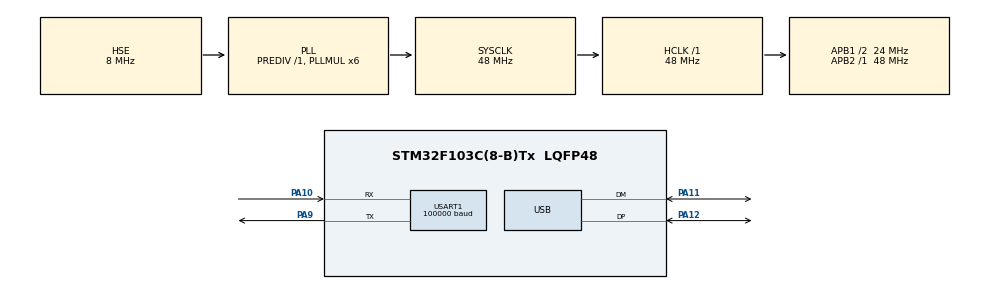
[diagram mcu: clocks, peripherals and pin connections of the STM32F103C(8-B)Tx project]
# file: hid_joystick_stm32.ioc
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Mcu.Family=STM32F1
Mcu.Name=STM32F103C(8-B)Tx
Mcu.Package=LQFP48
NVIC.PriorityGroup=NVIC_PRIORITYGROUP_4
NVIC.USART1_IRQn=true\:1\:0\:true\:false\:true\:true\:true
NVIC.USB_LP_CAN1_RX0_IRQn=true\:0\:0\:false\:false\:true\:true\:true
PA10.Mode=Asynchronous
PA10.Signal=USART1_RX
PA11.Mode=Device
PA11.Signal=USB_DM
PA12.Mode=Device
PA12.Signal=USB_DP
PA13.Mode=Serial_Wire
PA13.Signal=SYS_JTMS-SWDIO
PA14.Mode=Serial_Wire
PA14.Signal=SYS_JTCK-SWCLK
PA9.Mode=Asynchronous
PA9.Signal=USART1_TX
PD0-OSC_IN.Mode=HSE-External-Oscillator
PD0-OSC_IN.Signal=RCC_OSC_IN
PD1-OSC_OUT.Mode=HSE-External-Oscillator
PD1-OSC_OUT.Signal=RCC_OSC_OUT
ProjectManager.HeapSize=0x200
ProjectManager.StackSize=0x400
ProjectManager.TargetToolchain=MDK-ARM V5
RCC.ADCPresc=RCC_ADCPCLK2_DIV4
RCC.AHBFreq_Value=48000000
RCC.APB1CLKDivider=RCC_HCLK_DIV2
RCC.APB1Freq_Value=24000000
RCC.APB1TimFreq_Value=48000000
RCC.APB2Freq_Value=48000000
RCC.APB2TimFreq_Value=48000000
RCC.HCLKFreq_Value=48000000
RCC.PLLMUL=RCC_PLL_MUL6
RCC.SYSCLKFreq_VALUE=48000000
RCC.SYSCLKSource=RCC_SYSCLKSOURCE_PLLCLK
RCC.USBFreq_Value=48000000
USART1.BaudRate=100000
USART1.Parity=PARITY_EVEN
USART1.StopBits=STOPBITS_2
USART1.VirtualMode=VM_ASYNC
USB.ep0_mps=DEP0CTL_MPS_64
USB_DEVICE.CLASS_NAME_FS=HID
USB_DEVICE.MANUFACTURER_STRING=STMicroelectronics
USB_DEVICE.PID_HID_FS=0x5757
USB_DEVICE.PRODUCT_STRING_HID_FS=FeelCustom OpenJoy
USB_DEVICE.VID=0x0483
USB_DEVICE.VirtualMode=Hid
USB_DEVICE.VirtualModeFS=Hid_FS
VP_TIM3_VS_ClockSourceINT.Mode=Internal
VP_USB_DEVICE_VS_USB_DEVICE_HID_FS.Mode=HID_FS
board=hid_joystick_stm32

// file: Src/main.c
/**
  ******************************************************************************
  * File Name          : main.c
  * Description        : Main program body
  ******************************************************************************
  * This notice applies to any and all portions of this file
  * that are not between comment pairs USER CODE BEGIN and
  * USER CODE END. Other portions of this file, whether
  * inserted by the user or by software development tools
  * are owned by their respective copyright owners.
  *
  * Copyright (c) 2021 STMicroelectronics International N.V.
  * All rights reserved.
  *
  * Redistribution and use in source and binary forms, with or without
  * modification, are permitted, provided that the following conditions are met:
  *
  * 1. Redistribution of source code must retain the above copyright notice,
  *    this list of conditions and the following disclaimer.
  * 2. Redistributions in binary form must reproduce the above copyright notice,
  *    this list of conditions and the following disclaimer in the documentation
  *    and/or other materials provided with the distribution.
  * 3. Neither the name of STMicroelectronics nor the names of other
  *    contributors to this software may be used to endorse or promote products
  *    derived from this software without specific written permission.
  * 4. This software, including modifications and/or derivative works of this
  *    software, must execute solely and exclusively on microcontroller or
  *    microprocessor devices manufactured by or for STMicroelectronics.
  * 5. Redistribution and use of this software other than as permitted under
  *    this license is void and will automatically terminate your rights under
  *    this license.
  *
  * THIS SOFTWARE IS PROVIDED BY STMICROELECTRONICS AND CONTRIBUTORS "AS IS"
  * AND ANY EXPRESS, IMPLIED OR STATUTORY WARRANTIES, INCLUDING, BUT NOT
  * LIMITED TO, THE IMPLIED WARRANTIES OF MERCHANTABILITY, FITNESS FOR A
  * PARTICULAR PURPOSE AND NON-INFRINGEMENT OF THIRD PARTY INTELLECTUAL PROPERTY
  * RIGHTS ARE DISCLAIMED TO THE FULLEST EXTENT PERMITTED BY LAW. IN NO EVENT
  * SHALL STMICROELECTRONICS OR CONTRIBUTORS BE LIABLE FOR ANY DIRECT, INDIRECT,
  * INCIDENTAL, SPECIAL, EXEMPLARY, OR CONSEQUENTIAL DAMAGES (INCLUDING, BUT NOT
  * LIMITED TO, PROCUREMENT OF SUBSTITUTE GOODS OR SERVICES; LOSS OF USE, DATA,
  * OR PROFITS; OR BUSINESS INTERRUPTION) HOWEVER CAUSED AND ON ANY THEORY OF
  * LIABILITY, WHETHER IN CONTRACT, STRICT LIABILITY, OR TORT (INCLUDING
  * NEGLIGENCE OR OTHERWISE) ARISING IN ANY WAY OUT OF THE USE OF THIS SOFTWARE,
  * EVEN IF ADVISED OF THE POSSIBILITY OF SUCH DAMAGE.
  *
  ******************************************************************************
  */
#include "main.h"
#include "stm32f1xx_hal.h"
#include "tim.h"
#include "usart.h"
#include "usb_device.h"
#include "gpio.h"

/* USER CODE BEGIN Includes */
#include "usbd_hid.h"

/* USER CODE END Includes */

/* USER CODE BEGIN PV */
/* Private variables ---------------------------------------------------------*/
extern int32_t channelData[16];
volatile uint8_t data_ready = 0;

#if (AXIS_NUM > 0)
uint32_t filter_buf[AXIS_NUM][FILTER_WINDOW_SIZE];
#endif
uint16_t report_data[AXIS_NUM + BUTTONS_ENABLED];

uint16_t buttons_state;
uint16_t ADC_data[ADC_CHANNELS_NUM];

/* USER CODE END PV */

void SystemClock_Config(void);

/* USER CODE BEGIN PFP */
/* Private function prototypes -----------------------------------------------*/
uint16_t FilterWindow (uint32_t * p_buf, uint16_t new_val);

/* USER CODE END PFP */

int main(void)
{

  /* MCU Configuration----------------------------------------------------------*/

  /* Reset of all peripherals, Initializes the Flash interface and the Systick. */
  HAL_Init();

  /* Configure the system clock */
  SystemClock_Config();

  /* Initialize all configured peripherals */
  MX_GPIO_Init();
  MX_USB_DEVICE_Init();
  MX_TIM3_Init();
  MX_USART1_UART_Init();

  /* USER CODE BEGIN 2 */
  __HAL_UART_ENABLE_IT(&huart1, UART_IT_RXNE);
  /* USER CODE END 2 */

  /* Infinite loop */
  while (1)
  {

  /* USER CODE BEGIN 3 */
		if (data_ready != 0)
		{
//			GPIO_Poll(&buttons_state);

#if (AXIS_NUM > 0)
			report_data[0] = channelData[2];
			report_data[1] = channelData[3];
			report_data[2] = channelData[0];
#endif
			// switch button
			if(channelData[5] < 900) {
				buttons_state |= 0x01;
			} else {
				buttons_state &= ~0x01;
			}

			// connect status
			if((channelData[0] == 1001)
				&& (channelData[1] == 1001)
				&& (channelData[3] == 1001)) {
				buttons_state |= 0x02;
			} else {
				buttons_state &= ~0x02;
			}
#if (BUTTONS_ENABLED == 1)
			report_data[AXIS_NUM] = buttons_state;
#endif

			USBD_HID_SendReport(&hUsbDeviceFS, (uint8_t*) &report_data, (AXIS_NUM + BUTTONS_ENABLED)*sizeof(uint16_t));
			data_ready = 0;
		}
  }
  /* USER CODE END 3 */

}

/** System Clock Configuration
*/
void SystemClock_Config(void)
{

  RCC_OscInitTypeDef RCC_OscInitStruct;
  RCC_ClkInitTypeDef RCC_ClkInitStruct;
  RCC_PeriphCLKInitTypeDef PeriphClkInit;

    /**Initializes the CPU, AHB and APB busses clocks
    */
  RCC_OscInitStruct.OscillatorType = RCC_OSCILLATORTYPE_HSE;
  RCC_OscInitStruct.HSEState = RCC_HSE_ON;
  RCC_OscInitStruct.HSEPredivValue = RCC_HSE_PREDIV_DIV1;
  RCC_OscInitStruct.HSIState = RCC_HSI_ON;
  RCC_OscInitStruct.PLL.PLLState = RCC_PLL_ON;
  RCC_OscInitStruct.PLL.PLLSource = RCC_PLLSOURCE_HSE;
  RCC_OscInitStruct.PLL.PLLMUL = RCC_PLL_MUL6;
  if (HAL_RCC_OscConfig(&RCC_OscInitStruct) != HAL_OK)
  {
    _Error_Handler(__FILE__, __LINE__);
  }

    /**Initializes the CPU, AHB and APB busses clocks
    */
  RCC_ClkInitStruct.ClockType = RCC_CLOCKTYPE_HCLK|RCC_CLOCKTYPE_SYSCLK
                              |RCC_CLOCKTYPE_PCLK1|RCC_CLOCKTYPE_PCLK2;
  RCC_ClkInitStruct.SYSCLKSource = RCC_SYSCLKSOURCE_PLLCLK;
  RCC_ClkInitStruct.AHBCLKDivider = RCC_SYSCLK_DIV1;
  RCC_ClkInitStruct.APB1CLKDivider = RCC_HCLK_DIV2;
  RCC_ClkInitStruct.APB2CLKDivider = RCC_HCLK_DIV1;

  if (HAL_RCC_ClockConfig(&RCC_ClkInitStruct, FLASH_LATENCY_1) != HAL_OK)
  {
    _Error_Handler(__FILE__, __LINE__);
  }

  PeriphClkInit.PeriphClockSelection = RCC_PERIPHCLK_USB;
  PeriphClkInit.UsbClockSelection = RCC_USBCLKSOURCE_PLL;
  if (HAL_RCCEx_PeriphCLKConfig(&PeriphClkInit) != HAL_OK)
  {
    _Error_Handler(__FILE__, __LINE__);
  }

    /**Configure the Systick interrupt time
    */
  HAL_SYSTICK_Config(HAL_RCC_GetHCLKFreq()/1000);

    /**Configure the Systick
    */
  HAL_SYSTICK_CLKSourceConfig(SYSTICK_CLKSOURCE_HCLK);

  /* SysTick_IRQn interrupt configuration */
  HAL_NVIC_SetPriority(SysTick_IRQn, 0, 0);
}

/* USER CODE BEGIN 4 */

uint16_t FilterWindow (uint32_t * p_buf, uint16_t new_val)
{
	uint16_t ret;

	p_buf[FILTER_WINDOW_SIZE-1] = new_val;

	for (uint8_t i=2; i<=FILTER_WINDOW_SIZE; i++)
	{
		p_buf[FILTER_WINDOW_SIZE-1] += p_buf[FILTER_WINDOW_SIZE - i];
	}

	p_buf[FILTER_WINDOW_SIZE-1] /= FILTER_WINDOW_SIZE;

	ret = p_buf[FILTER_WINDOW_SIZE-1];

	for (int i=0; i<FILTER_WINDOW_SIZE; i++)
	{
		p_buf[i-1] = p_buf[i];
	}

		return ret;
}

/* USER CODE END 4 */

void _Error_Handler(char * file, int line)
{
  while(1)
  {
  }
}

/************************ (C) COPYRIGHT STMicroelectronics *****END OF FILE****/
